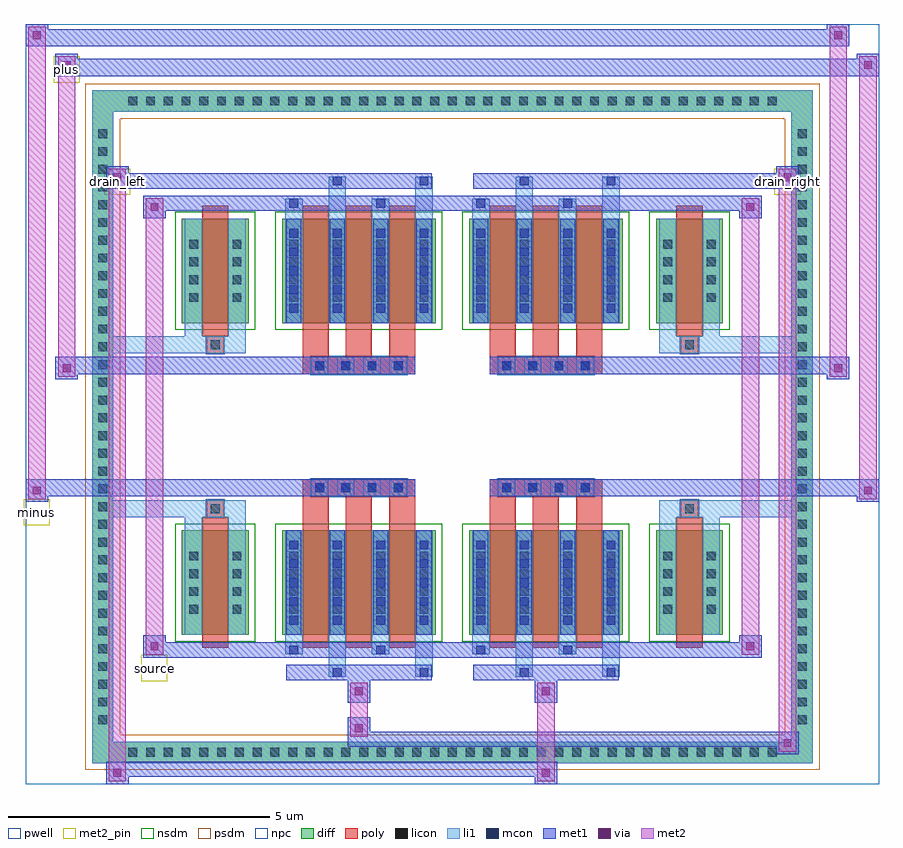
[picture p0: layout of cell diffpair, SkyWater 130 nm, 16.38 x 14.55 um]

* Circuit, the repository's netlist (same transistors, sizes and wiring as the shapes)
* NGSPICE file created from diffpair.ext - technology: sky130A

.subckt diffpair minus drain_right drain_left source plus
X0 source minus drain_right a_n1380_n1288# sky130_fd_pr__nfet_01v8 ad=0.33 pd=2.33 as=0.33 ps=2.33 w=2 l=0.5
X1 source plus drain_left a_n1380_n1288# sky130_fd_pr__nfet_01v8 ad=0.33 pd=2.33 as=0.33 ps=2.33 w=2 l=0.5
X2 source minus drain_right a_n1380_n1288# sky130_fd_pr__nfet_01v8 ad=0.33 pd=2.33 as=0.33 ps=2.33 w=2 l=0.5
X3 drain_left plus source a_n1380_n1288# sky130_fd_pr__nfet_01v8 ad=0.78 pd=4.78 as=0.33 ps=2.33 w=2 l=0.5
X4 a_n1380_n1288# a_n1380_n1288# a_n1380_n1288# a_n1380_n1288# sky130_fd_pr__nfet_01v8 ad=0.78 pd=4.78 as=6.24 ps=38.24 w=2 l=0.5
X5 drain_right minus source a_n1380_n1288# sky130_fd_pr__nfet_01v8 ad=0.78 pd=4.78 as=0.33 ps=2.33 w=2 l=0.5
X6 a_n1380_n1288# a_n1380_n1288# a_n1380_n1288# a_n1380_n1288# sky130_fd_pr__nfet_01v8 ad=0.78 pd=4.78 as=0 ps=0 w=2 l=0.5
X7 a_n1380_n1288# a_n1380_n1288# a_n1380_n1288# a_n1380_n1288# sky130_fd_pr__nfet_01v8 ad=0.78 pd=4.78 as=0 ps=0 w=2 l=0.5
X8 drain_right minus source a_n1380_n1288# sky130_fd_pr__nfet_01v8 ad=0.33 pd=2.33 as=0.78 ps=4.78 w=2 l=0.5
X9 source plus drain_left a_n1380_n1288# sky130_fd_pr__nfet_01v8 ad=0.33 pd=2.33 as=0.33 ps=2.33 w=2 l=0.5
X10 drain_right minus source a_n1380_n1288# sky130_fd_pr__nfet_01v8 ad=0.33 pd=2.33 as=0.78 ps=4.78 w=2 l=0.5
X11 drain_left plus source a_n1380_n1288# sky130_fd_pr__nfet_01v8 ad=0.78 pd=4.78 as=0.33 ps=2.33 w=2 l=0.5
X12 drain_right minus source a_n1380_n1288# sky130_fd_pr__nfet_01v8 ad=0.78 pd=4.78 as=0.33 ps=2.33 w=2 l=0.5
X13 drain_left plus source a_n1380_n1288# sky130_fd_pr__nfet_01v8 ad=0.33 pd=2.33 as=0.78 ps=4.78 w=2 l=0.5
X14 drain_left plus source a_n1380_n1288# sky130_fd_pr__nfet_01v8 ad=0.33 pd=2.33 as=0.78 ps=4.78 w=2 l=0.5
X15 a_n1380_n1288# a_n1380_n1288# a_n1380_n1288# a_n1380_n1288# sky130_fd_pr__nfet_01v8 ad=0.78 pd=4.78 as=0 ps=0 w=2 l=0.5
.ends

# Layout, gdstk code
import gdstk
lib = gdstk.Library(unit=1e-6, precision=5e-09)
def R(c, l, rs):  # rectangles x0, y0, x1, y1
    for r in rs: c.add(gdstk.rectangle(r[:2], r[2:], *l))
def A(c, l, x, y, w, h, nx, ny, dx, dy):  # array of equal rectangles
    R(c, l, [(x+i*dx, y+j*dy, x+i*dx+w, y+j*dy+h) for i in range(nx) for j in range(ny)])
def P(c, l, *ps):  # polygons
    for p in ps: c.add(gdstk.Polygon(p, *l))
pwell = (64, 44)
diff = (65, 20)
poly = (66, 20)
licon = (66, 44)
li1 = (67, 20)
mcon = (67, 44)
met1 = (68, 20)
via = (68, 44)
met2_pin = (69, 16)
met2 = (69, 20)
nsdm = (93, 44)
psdm = (94, 20)
npc = (95, 20)

diffpair = lib.new_cell('diffpair')
R(diffpair, pwell, [(-8.17,-6.84,8.17,7.71), (-5.49,-5.03,-0.01,-0.805), (0.01,-5.03,5.49,-0.805), (-5.49,0.805,-0.01,5.03), (0.01,0.805,5.49,5.03)])
A(diffpair, diff, -6.325, -6.44, 0.41, 0.41, 37, 2, 0.34, 12.47)
A(diffpair, diff, -6.9, -5.815, 0.41, 0.41, 1, 34, 0, 0.34)
A(diffpair, diff, 6.49, -5.815, 0.41, 0.41, 1, 34, 0, 0.34)
R(diffpair, diff, [(-6.325,-6.44,6.325,-6.03), (-6.9,-5.815,-6.49,5.815), (6.49,-5.815,6.9,5.815), (-5.18,-3.985,-3.9,-1.985), (-3.26,-3.985,-0.32,-1.985), (0.32,-3.985,3.26,-1.985), (3.9,-3.985,5.18,-1.985), (-5.18,1.985,-3.9,3.985), (-3.26,1.985,-0.32,3.985), (0.32,1.985,3.26,3.985), (3.9,1.985,5.18,3.985), (-6.325,6.03,6.325,6.44)])
P(diffpair, diff, [(6.9,6.44),(-6.9,6.44),(-6.9,-6.03),(-6.49,-6.03),(-6.49,6.03),(6.49,6.03),(6.49,-6.03),(-6.49,-6.03),(-6.9,-6.03),(-6.9,-6.44),(6.9,-6.44)])
A(diffpair, poly, -2.87, -4.235, 0.5, 2.5, 3, 2, 0.83, 5.97)
A(diffpair, poly, 0.71, -4.235, 0.5, 2.5, 3, 2, 0.83, 5.97)
A(diffpair, poly, -2.87, -1.735, 0.5, 0.4, 3, 2, 0.83, 3.07)
A(diffpair, poly, 0.71, -1.735, 0.5, 0.4, 3, 2, 0.83, 3.07)
A(diffpair, poly, -2.705, -1.335, 0.33, 0.33, 4, 2, 0.5, 2.34)
A(diffpair, poly, 0.875, -1.335, 0.33, 0.33, 4, 2, 0.5, 2.34)
R(diffpair, poly, [(-4.79,-4.235,-4.29,-1.735), (4.29,-4.235,4.79,-1.735), (-4.705,-1.735,-4.375,-1.405), (-4.705,-1.735,-4.375,-1.405), (4.375,-1.735,4.705,-1.405), (4.375,-1.735,4.705,-1.405), (-2.87,-1.335,-0.71,-1.005), (0.71,-1.335,2.87,-1.005), (-2.87,1.005,-0.71,1.335), (0.71,1.005,2.87,1.335), (-4.705,1.405,-4.375,1.735), (-4.705,1.405,-4.375,1.735), (4.375,1.405,4.705,1.735), (4.375,1.405,4.705,1.735), (-4.79,1.735,-4.29,4.235), (4.29,1.735,4.79,4.235)])
A(diffpair, licon, -6.205, -6.32, 0.17, 0.17, 37, 2, 0.34, 12.47)
A(diffpair, licon, -6.78, -5.695, 0.17, 0.17, 1, 34, 0, 0.34)
A(diffpair, licon, 6.61, -5.695, 0.17, 0.17, 1, 34, 0, 0.34)
A(diffpair, licon, -5.04, -3.58, 0.17, 0.17, 1, 4, 0, 0.34)
A(diffpair, licon, -4.21, -3.58, 0.17, 0.17, 1, 4, 0, 0.34)
A(diffpair, licon, -3.12, -3.58, 0.17, 0.17, 4, 4, 0.83, 0.34)
A(diffpair, licon, 0.46, -3.58, 0.17, 0.17, 4, 4, 0.83, 0.34)
A(diffpair, licon, 4.04, -3.58, 0.17, 0.17, 1, 4, 0, 0.34)
A(diffpair, licon, 4.87, -3.58, 0.17, 0.17, 1, 4, 0, 0.34)
A(diffpair, licon, -2.625, -1.255, 0.17, 0.17, 4, 2, 0.5, 2.34)
A(diffpair, licon, 0.955, -1.255, 0.17, 0.17, 4, 2, 0.5, 2.34)
A(diffpair, licon, -5.04, 2.39, 0.17, 0.17, 1, 4, 0, 0.34)
A(diffpair, licon, -4.21, 2.39, 0.17, 0.17, 1, 4, 0, 0.34)
A(diffpair, licon, -3.12, 2.39, 0.17, 0.17, 4, 4, 0.83, 0.34)
A(diffpair, licon, 0.46, 2.39, 0.17, 0.17, 4, 4, 0.83, 0.34)
A(diffpair, licon, 4.04, 2.39, 0.17, 0.17, 1, 4, 0, 0.34)
A(diffpair, licon, 4.87, 2.39, 0.17, 0.17, 1, 4, 0, 0.34)
R(diffpair, licon, [(-4.625,-1.655,-4.455,-1.485), (4.455,-1.655,4.625,-1.485), (-4.625,1.485,-4.455,1.655), (4.455,1.485,4.625,1.655)])
A(diffpair, li1, -6.285, -6.4, 0.33, 0.33, 37, 2, 0.34, 12.47)
A(diffpair, li1, -6.86, -5.775, 0.33, 0.33, 1, 34, 0, 0.34)
A(diffpair, li1, 6.53, -5.775, 0.33, 0.33, 1, 34, 0, 0.34)
A(diffpair, li1, -3.2, -3.985, 0.33, 2, 4, 2, 0.83, 5.97)
A(diffpair, li1, 0.38, -3.985, 0.33, 2, 4, 2, 0.83, 5.97)
A(diffpair, li1, -3.12, -3.79, 0.17, 0.17, 4, 5, 0.83, 0.36)
A(diffpair, li1, -3.12, -3.79, 0.17, 1.61, 4, 2, 0.83, 5.97)
A(diffpair, li1, 0.46, -3.79, 0.17, 0.17, 4, 5, 0.83, 0.36)
A(diffpair, li1, 0.46, -3.79, 0.17, 1.61, 4, 2, 0.83, 5.97)
A(diffpair, li1, -5.12, -3.66, 0.33, 0.33, 1, 4, 0, 0.34)
A(diffpair, li1, -4.29, -3.66, 0.33, 0.33, 1, 4, 0, 0.34)
A(diffpair, li1, -3.2, -3.66, 0.33, 0.33, 4, 4, 0.83, 0.34)
A(diffpair, li1, 0.38, -3.66, 0.33, 0.33, 4, 4, 0.83, 0.34)
A(diffpair, li1, 3.96, -3.66, 0.33, 0.33, 1, 4, 0, 0.34)
A(diffpair, li1, 4.79, -3.66, 0.33, 0.33, 1, 4, 0, 0.34)
A(diffpair, li1, -2.705, -1.335, 0.33, 0.33, 4, 2, 0.5, 2.34)
A(diffpair, li1, 0.875, -1.335, 0.33, 0.33, 4, 2, 0.5, 2.34)
A(diffpair, li1, -3.12, 2.18, 0.17, 0.17, 4, 5, 0.83, 0.36)
A(diffpair, li1, 0.46, 2.18, 0.17, 0.17, 4, 5, 0.83, 0.36)
A(diffpair, li1, -5.12, 2.31, 0.33, 0.33, 1, 4, 0, 0.34)
A(diffpair, li1, -4.29, 2.31, 0.33, 0.33, 1, 4, 0, 0.34)
A(diffpair, li1, -3.2, 2.31, 0.33, 0.33, 4, 4, 0.83, 0.34)
A(diffpair, li1, 0.38, 2.31, 0.33, 0.33, 4, 4, 0.83, 0.34)
A(diffpair, li1, 3.96, 2.31, 0.33, 0.33, 1, 4, 0, 0.34)
A(diffpair, li1, 4.79, 2.31, 0.33, 0.33, 1, 4, 0, 0.34)
R(diffpair, li1, [(-6.9,-6.44,-6.49,-6.03), (-6.9,-6.44,-6.49,-6.03), (-6.49,-6.44,6.49,-6.03), (6.49,-6.44,6.9,-6.03), (6.49,-6.44,6.9,-6.03), (-6.9,-6.03,-6.49,6.03), (6.49,-6.03,6.9,6.03), (-2.37,-4.79,-2.04,-3.985), (-2.29,-4.79,-2.12,-4.62), (-0.71,-4.79,-0.38,-3.985), (-0.63,-4.79,-0.46,-4.62), (1.21,-4.79,1.54,-3.985), (1.29,-4.79,1.46,-4.62), (2.87,-4.79,3.2,-3.985), (2.95,-4.79,3.12,-4.62), (-3.2,-4.36,-2.87,-3.985), (-3.12,-4.36,-2.95,-4.19), (-1.54,-4.36,-1.21,-3.985), (-1.46,-4.36,-1.29,-4.19), (0.38,-4.36,0.71,-3.985), (0.46,-4.36,0.63,-4.19), (2.04,-4.36,2.37,-3.985), (2.12,-4.36,2.29,-4.19), (-5.12,-3.985,-4.79,-1.985), (-4.29,-3.985,-3.96,-1.985), (3.96,-3.985,4.29,-1.985), (4.79,-3.985,5.12,-1.985), (-5.12,-1.985,-4.79,-1.405), (-4.29,-1.985,-3.96,-1.405), (3.96,-1.985,4.29,-1.405), (4.79,-1.985,5.12,-1.405), (-6.9,-1.735,-4.705,-1.405), (-5.12,-1.735,-4.705,-1.405), (-4.705,-1.735,-4.375,-1.405), (-4.375,-1.735,-3.96,-1.405), (3.96,-1.735,4.375,-1.405), (4.375,-1.735,4.705,-1.405), (4.375,-1.735,6.9,-1.405), (4.705,-1.735,5.12,-1.405), (-6.9,1.405,-4.705,1.735), (-5.12,1.405,-4.705,1.735), (-5.12,1.405,-4.79,1.985), (-4.705,1.405,-4.375,1.735), (-4.375,1.405,-3.96,1.735), (-4.29,1.405,-3.96,1.985), (3.96,1.405,4.375,1.735), (3.96,1.405,4.29,1.985), (4.375,1.405,4.705,1.735), (4.375,1.405,6.9,1.735), (4.705,1.405,5.12,1.735), (4.79,1.405,5.12,1.985), (-5.12,1.985,-4.79,3.985), (-4.29,1.985,-3.96,3.985), (3.96,1.985,4.29,3.985), (4.79,1.985,5.12,3.985), (-3.2,3.985,-2.87,4.36), (-2.37,3.985,-2.04,4.79), (-1.54,3.985,-1.21,4.36), (-0.71,3.985,-0.38,4.79), (0.38,3.985,0.71,4.36), (1.21,3.985,1.54,4.79), (2.04,3.985,2.37,4.36), (2.87,3.985,3.2,4.79), (-3.12,4.19,-2.95,4.36), (-1.46,4.19,-1.29,4.36), (0.46,4.19,0.63,4.36), (2.12,4.19,2.29,4.36), (-2.29,4.62,-2.12,4.79), (-0.63,4.62,-0.46,4.79), (1.29,4.62,1.46,4.79), (2.95,4.62,3.12,4.79), (-6.9,6.03,-6.49,6.44), (-6.9,6.03,-6.49,6.44), (-6.49,6.03,6.49,6.44), (6.49,6.03,6.9,6.44), (6.49,6.03,6.9,6.44)])
A(diffpair, mcon, -3.12, -3.79, 0.17, 0.17, 4, 5, 0.83, 0.36)
A(diffpair, mcon, 0.46, -3.79, 0.17, 0.17, 4, 5, 0.83, 0.36)
A(diffpair, mcon, -2.625, -1.255, 0.17, 0.17, 4, 2, 0.5, 2.34)
A(diffpair, mcon, 0.955, -1.255, 0.17, 0.17, 4, 2, 0.5, 2.34)
A(diffpair, mcon, -3.12, 2.18, 0.17, 0.17, 4, 5, 0.83, 0.36)
A(diffpair, mcon, 0.46, 2.18, 0.17, 0.17, 4, 5, 0.83, 0.36)
R(diffpair, mcon, [(-2.29,-4.79,-2.12,-4.62), (-0.63,-4.79,-0.46,-4.62), (1.29,-4.79,1.46,-4.62), (2.95,-4.79,3.12,-4.62), (-3.12,-4.36,-2.95,-4.19), (-1.46,-4.36,-1.29,-4.19), (0.46,-4.36,0.63,-4.19), (2.12,-4.36,2.29,-4.19), (-3.12,4.19,-2.95,4.36), (-1.46,4.19,-1.29,4.36), (0.46,4.19,0.63,4.36), (2.12,4.19,2.29,4.36), (-2.29,4.62,-2.12,4.79), (-0.63,4.62,-0.46,4.79), (1.29,4.62,1.46,4.79), (2.95,4.62,3.12,4.79)])
A(diffpair, met1, -3.18, -3.985, 0.29, 2, 4, 2, 0.83, 5.97)
A(diffpair, met1, 0.4, -3.985, 0.29, 2, 4, 2, 0.83, 5.97)
A(diffpair, met1, -3.18, -3.85, 0.29, 0.29, 4, 5, 0.83, 0.36)
A(diffpair, met1, 0.4, -3.85, 0.29, 0.29, 4, 5, 0.83, 0.36)
A(diffpair, met1, -2.685, -1.315, 0.29, 0.29, 4, 2, 0.5, 2.34)
A(diffpair, met1, 0.895, -1.315, 0.29, 0.29, 4, 2, 0.5, 2.34)
A(diffpair, met1, -3.18, 2.12, 0.29, 0.29, 4, 5, 0.83, 0.36)
A(diffpair, met1, 0.4, 2.12, 0.29, 0.29, 4, 5, 0.83, 0.36)
R(diffpair, met1, [(-6.63,-6.84,-6.2,-6.41), (1.575,-6.84,2.005,-6.41), (-6.63,-6.7,2.005,-6.41), (6.2,-6.27,6.63,-5.84), (-2.005,-6.13,6.63,-5.84), (-2.005,-5.99,-1.575,-5.56), (-2.005,-5.28,-1.575,-4.85), (1.575,-5.28,2.005,-4.85), (-3.18,-4.85,-0.4,-4.56), (-2.35,-4.85,-2.06,-4.56), (-0.69,-4.85,-0.4,-4.56), (0.4,-4.85,3.18,-4.56), (1.23,-4.85,1.52,-4.56), (2.89,-4.85,3.18,-4.56), (-5.92,-4.42,-5.49,-3.99), (-5.92,-4.42,-3.18,-4.13), (-3.18,-4.42,-2.89,-4.13), (-3.18,-4.42,-0.4,-4.13), (-1.52,-4.42,-1.23,-4.13), (-0.4,-4.42,0.4,-4.13), (0.4,-4.42,0.69,-4.13), (0.4,-4.42,3.18,-4.13), (2.06,-4.42,2.35,-4.13), (3.18,-4.42,5.92,-4.13), (5.49,-4.42,5.92,-3.99), (-8.17,-1.435,-7.74,-1.005), (7.74,-1.435,8.17,-1.005), (-8.17,-1.335,-0.71,-1.005), (-2.87,-1.335,-0.71,-1.005), (0.71,-1.335,2.87,-1.005), (0.71,-1.335,8.17,-1.005), (-7.6,0.905,-7.17,1.335), (7.17,0.905,7.6,1.335), (-7.6,1.005,-2.87,1.335), (-2.87,1.005,-0.71,1.335), (0.71,1.005,2.87,1.335), (2.87,1.005,7.6,1.335), (-5.92,3.99,-5.49,4.42), (5.49,3.99,5.92,4.42), (-5.92,4.13,-3.18,4.42), (-3.18,4.13,-2.89,4.42), (-3.18,4.13,-0.4,4.42), (-1.52,4.13,-1.23,4.42), (-0.4,4.13,0.4,4.42), (0.4,4.13,0.69,4.42), (0.4,4.13,3.18,4.42), (2.06,4.13,2.35,4.42), (3.18,4.13,5.92,4.42), (-6.63,4.56,-6.2,4.99), (-6.63,4.56,-3.18,4.85), (-3.18,4.56,-0.4,4.85), (-2.35,4.56,-2.06,4.85), (-0.69,4.56,-0.4,4.85), (0.4,4.56,3.18,4.85), (1.23,4.56,1.52,4.85), (2.89,4.56,3.18,4.85), (3.18,4.56,6.63,4.85), (6.2,4.56,6.63,4.99), (-7.6,6.71,-7.17,7.14), (-7.6,6.71,-5.49,7.04), (-5.49,6.71,5.49,7.04), (5.49,6.71,8.17,7.04), (7.74,6.71,8.17,7.14), (-8.17,7.28,-7.74,7.71), (-8.17,7.28,-5.49,7.61), (-5.49,7.28,5.49,7.61), (5.49,7.28,7.6,7.61), (7.17,7.28,7.6,7.71)])
R(diffpair, via, [(-6.49,-6.7,-6.34,-6.55), (1.715,-6.7,1.865,-6.55), (6.34,-6.13,6.49,-5.98), (-1.865,-5.85,-1.715,-5.7), (-1.865,-5.14,-1.715,-4.99), (1.715,-5.14,1.865,-4.99), (-5.78,-4.28,-5.63,-4.13), (5.63,-4.28,5.78,-4.13), (-8.03,-1.295,-7.88,-1.145), (7.88,-1.295,8.03,-1.145), (-7.46,1.045,-7.31,1.195), (7.31,1.045,7.46,1.195), (-5.78,4.13,-5.63,4.28), (5.63,4.13,5.78,4.28), (-6.49,4.7,-6.34,4.85), (6.34,4.7,6.49,4.85), (-7.46,6.85,-7.31,7), (7.88,6.85,8.03,7), (-8.03,7.42,-7.88,7.57), (7.31,7.42,7.46,7.57)])
R(diffpair, met2_pin, [(-5.955,-4.87,-5.455,-4.37), (-8.205,-1.885,-7.705,-1.385), (-6.665,4.44,-6.165,4.94), (6.165,4.44,6.665,4.94), (-7.635,6.59,-7.135,7.09)])
R(diffpair, met2, [(-6.58,-6.79,-6.25,-6.46), (-6.58,-6.79,-6.25,4.94), (1.625,-6.79,1.955,-6.46), (1.625,-6.46,1.955,-5.23), (6.25,-6.22,6.58,-5.89), (6.25,-6.22,6.58,4.94), (-1.955,-5.94,-1.625,-5.61), (-1.955,-5.61,-1.625,-5.23), (-1.955,-5.23,-1.625,-4.9), (1.625,-5.23,1.955,-4.9), (-5.87,-4.37,-5.54,-4.04), (-5.87,-4.37,-5.54,4.37), (5.54,-4.37,5.87,-4.04), (5.54,-4.37,5.87,4.37), (-8.12,-1.385,-7.79,-1.055), (-8.12,-1.385,-7.79,7.66), (7.79,-1.385,8.12,-1.055), (7.79,-1.385,8.12,7.09), (-7.55,0.955,-7.22,1.285), (-7.55,0.955,-7.22,7.09), (7.22,0.955,7.55,1.285), (7.22,0.955,7.55,7.66), (-5.87,4.04,-5.54,4.37), (5.54,4.04,5.87,4.37), (-6.58,4.61,-6.25,4.94), (6.25,4.61,6.58,4.94), (-7.55,6.76,-7.22,7.09), (7.79,6.76,8.12,7.09), (-8.12,7.33,-7.79,7.66), (7.22,7.33,7.55,7.66)])
P(diffpair, met2, [(8.12,-1.385),(8.12,-1.385),(8.12,-1.055),(8.12,-1.055)],
  [(8.12,6.76),(8.12,6.76),(8.12,7.09),(8.12,7.09)],
  [(-7.79,-1.385),(-7.79,-1.385),(-7.79,-1.055),(-7.79,-1.055)],
  [(-7.79,7.33),(-7.79,7.33),(-7.79,7.66),(-7.79,7.66)],
  [(7.55,0.955),(7.55,0.955),(7.55,1.285),(7.55,1.285)],
  [(7.55,7.33),(7.55,7.33),(7.55,7.66),(7.55,7.66)],
  [(-7.22,0.955),(-7.22,0.955),(-7.22,1.285),(-7.22,1.285)],
  [(-7.22,6.76),(-7.22,6.76),(-7.22,7.09),(-7.22,7.09)],
  [(-6.25,-6.79),(-6.25,-6.79),(-6.25,-6.46),(-6.25,-6.46)],
  [(-6.25,4.61),(-6.25,4.61),(-6.25,4.94),(-6.25,4.94)],
  [(6.58,-6.22),(6.58,-6.22),(6.58,-5.89),(6.58,-5.89)],
  [(6.58,4.61),(6.58,4.61),(6.58,4.94),(6.58,4.94)],
  [(-5.54,-4.37),(-5.54,-4.37),(-5.54,-4.04),(-5.54,-4.04)],
  [(-5.54,4.04),(-5.54,4.04),(-5.54,4.37),(-5.54,4.37)],
  [(5.87,-4.37),(5.87,-4.37),(5.87,-4.04),(5.87,-4.04)],
  [(5.87,4.04),(5.87,4.04),(5.87,4.37),(5.87,4.37)])
R(diffpair, nsdm, [(-5.31,-4.115,-3.77,-1.855), (-3.39,-4.115,-0.19,-1.855), (0.19,-4.115,3.39,-1.855), (3.77,-4.115,5.31,-1.855), (-5.31,1.855,-3.77,4.115), (-3.39,1.855,-0.19,4.115), (0.19,1.855,3.39,4.115), (3.77,1.855,5.31,4.115)])
P(diffpair, psdm, [(7.03,6.57),(-7.03,6.57),(-7.03,-5.9),(-6.36,-5.9),(-6.36,5.9),(6.36,5.9),(6.36,-5.9),(-6.36,-5.9),(-7.03,-5.9),(-7.03,-6.57),(7.03,-6.57)])
A(diffpair, npc, -2.725, -1.355, 0.37, 0.37, 4, 2, 0.5, 2.34)
A(diffpair, npc, 0.855, -1.355, 0.37, 0.37, 4, 2, 0.5, 2.34)
R(diffpair, npc, [(-4.725,-1.755,-4.355,-1.385), (4.355,-1.755,4.725,-1.385), (-2.725,-1.355,-1.855,-0.985), (-2.725,-1.355,-1.855,-0.985), (-2.225,-1.355,-1.355,-0.985), (-2.225,-1.355,-1.355,-0.985), (-1.725,-1.355,-0.855,-0.985), (-1.725,-1.355,-0.855,-0.985), (0.855,-1.355,1.725,-0.985), (0.855,-1.355,1.725,-0.985), (1.355,-1.355,2.225,-0.985), (1.355,-1.355,2.225,-0.985), (1.855,-1.355,2.725,-0.985), (1.855,-1.355,2.725,-0.985), (-2.725,0.985,-1.855,1.355), (-2.725,0.985,-1.855,1.355), (-2.225,0.985,-1.355,1.355), (-2.225,0.985,-1.355,1.355), (-1.725,0.985,-0.855,1.355), (-1.725,0.985,-0.855,1.355), (0.855,0.985,1.725,1.355), (0.855,0.985,1.725,1.355), (1.355,0.985,2.225,1.355), (1.355,0.985,2.225,1.355), (1.855,0.985,2.725,1.355), (1.855,0.985,2.725,1.355), (-4.725,1.385,-4.355,1.755), (4.355,1.385,4.725,1.755)])
diffpair.add(gdstk.Label('minus', (-7.955,-1.635), layer=69, texttype=5))
diffpair.add(gdstk.Label('drain_right', (6.415,4.69), layer=69, texttype=5))
diffpair.add(gdstk.Label('drain_left', (-6.415,4.69), layer=69, texttype=5))
diffpair.add(gdstk.Label('source', (-5.705,-4.62), layer=69, texttype=5))
diffpair.add(gdstk.Label('plus', (-7.385,6.84), layer=69, texttype=5))

lib.write_gds('diffpair.gds')
